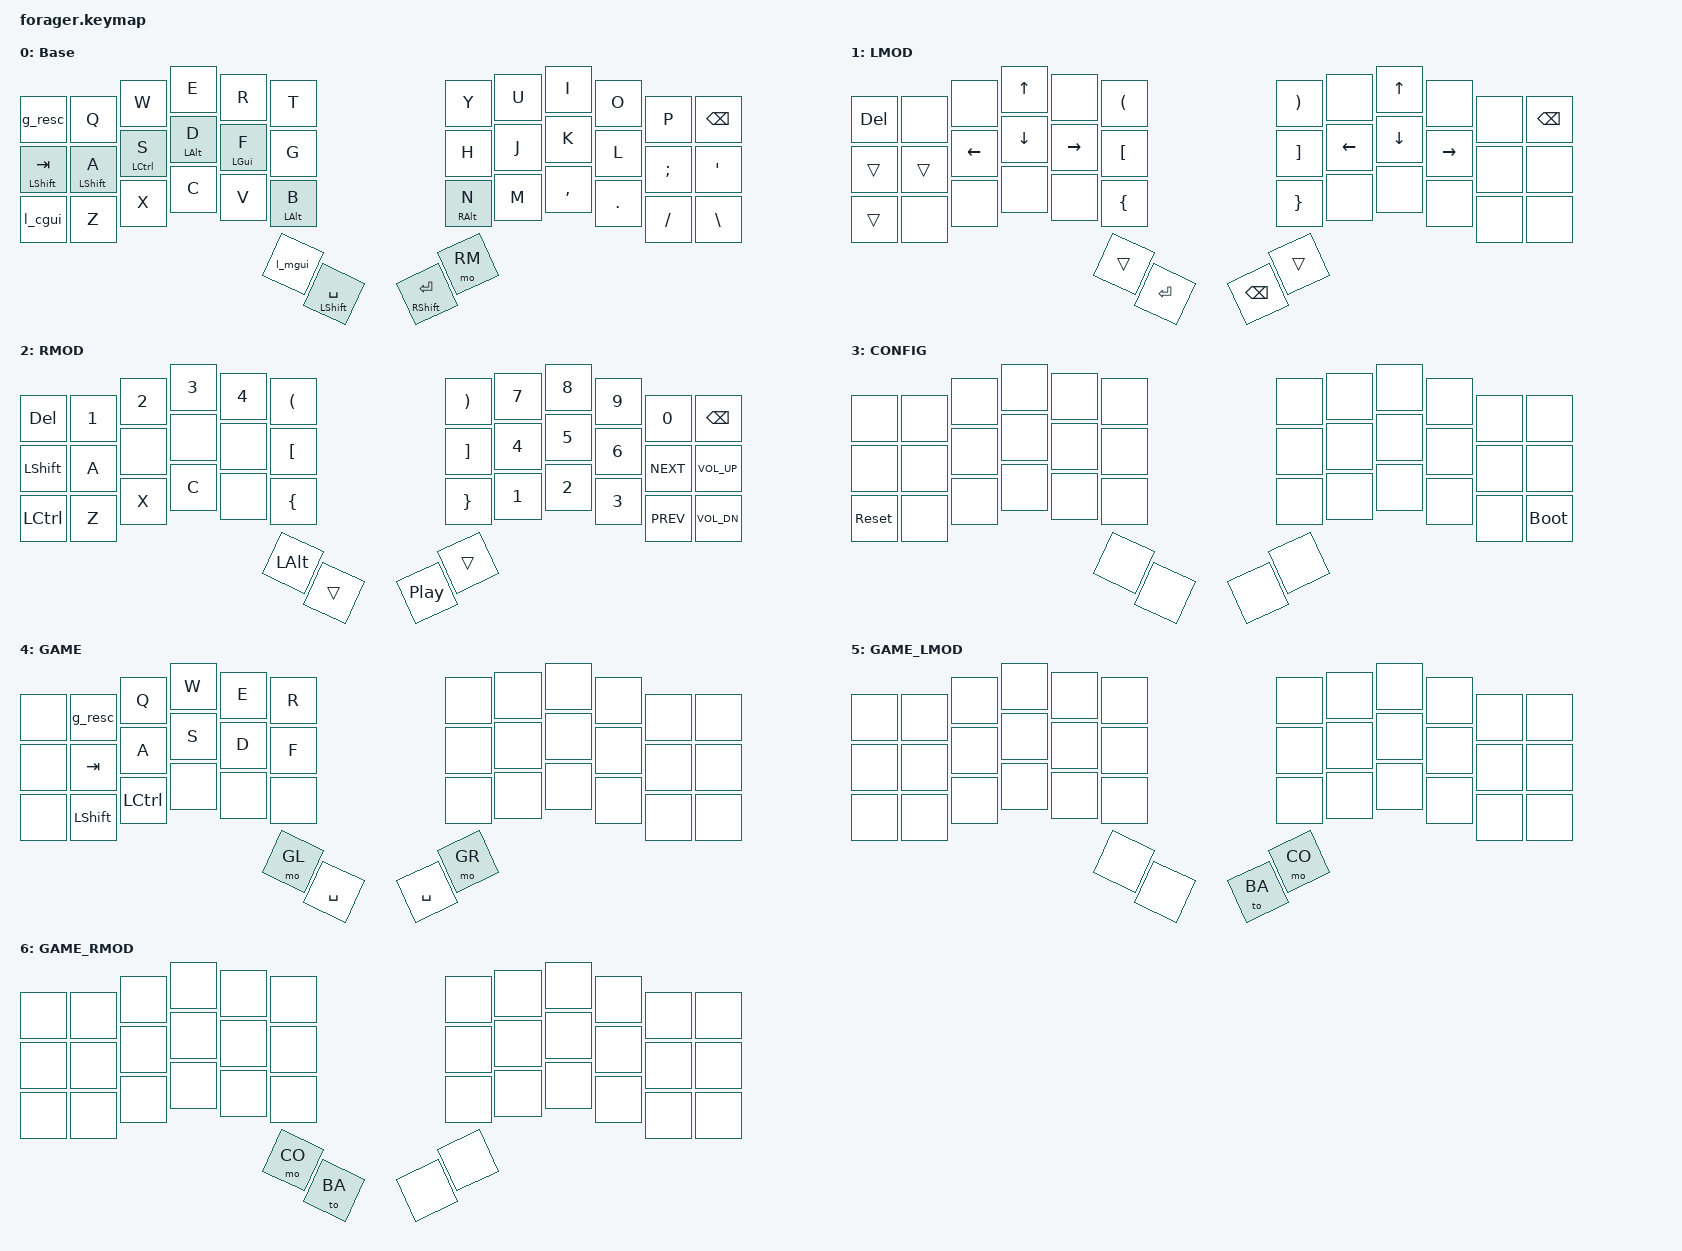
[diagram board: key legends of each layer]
#include <behaviors.dtsi>
#include <dt-bindings/zmk/keys.h>
#include <dt-bindings/zmk/bt.h>
#include <dt-bindings/zmk/outputs.h>

#define Base        0
#define LMOD        1
#define RMOD        2
#define CONFIG      3
#define GAME        4
#define GAME_LMOD   5
#define GAME_RMOD   6

#define BA          0
#define LM          1
#define RM          2
#define CO          3
#define GA          4
#define GL          5
#define GR          6


&kscan0 {
    debounce-press-ms = <5>;
    debounce-release-ms = <3>;
};

&mt {
    quick-tap-ms = <100>;
    global-quick-tap;
    flavor = "tap-preferred";
    tapping-term-ms = <170>;
};

&lt {
    tapping-term-ms = <240>;
    flavor = "balanced";
    quick-tap-ms = <150>;
};

/ {
    behaviors {
        hm: homerow_mods {
            compatible = "zmk,behavior-hold-tap";
            label = "HOMEROW_MODS";
            #binding-cells = <2>;
            flavor = "tap-preferred";
            tapping-term-ms = <200>;
            quick-tap-ms = <125>;
            global-quick-tap;
            bindings = <&kp>, <&kp>;
        };
        g_resc: grave_escape {
            compatible = "zmk,behavior-mod-morph";
            #binding-cells = <0>;
            bindings = <&kp ESC>, <&kp GRAVE>;
            mods = <(MOD_LCTL|MOD_LGUI|MOD_RCTL|MOD_RGUI)>;
        };
        l_cgui: left_ctrl_gui {
            compatible = "zmk,behavior-tap-dance";
            #binding-cells = <0>;
            tapping-term-ms = <200>;
            bindings = <&kp LCTRL>, <&kp LGUI>;
        };
        l_mgui: left_mod_gui {
            compatible = "zmk,behavior-tap-dance";
            #binding-cells = <0>;
            tapping-term-ms = <200>;
            bindings = <&mo LM>, <&kp LGUI>;
        };
    };
    macros {
      // Macro to press LCTRL, LALT, and LGUI simultaneously
      tri_mod_macro: tri_mod_macro {
        compatible = "zmk,behavior-macro";
        #binding-cells = <0>;
        wait-ms = <0>; // No delay between key events
        tap-ms = <0>;
        bindings = <&macro_press &kp LCTRL &kp LALT &kp LGUI>,
          <&macro_pause_for_release>,
          <&macro_release &kp LCTRL &kp LALT &kp LGUI>;
      };
    };
// Reference
//          00              01              02              03              04              05                                              06              07              08              09              10              11
//          12              13              14              15              16              17                                              18              19              20              21              22              23
//          24              25              26              27              28              29                                              30              31              32              33              34              35
//                                                                                          36              37              38              39
    combos {
      compatible = "zmk,combos";
      combo_esc {
        timeout-ms = <30>;
        key-positions = <0 1>;
        bindings = <&kp GRAVE>;
      };
      combo_minus {
        timeout-ms = <30>;
        key-positions = <6 7>;
        bindings = <&kp MINUS>;
      };
      combo_equal {
        timeout-ms = <30>;
        key-positions = <7 8>;
        bindings = <&kp EQUAL>;
      };
      combo_rgui {
        timeout-ms = <30>;
        key-positions = <30 31>;
        bindings = <&kp RGUI>;
      };
      combo_lgui_central {
        timeout-ms = <30>;
        key-positions = <36 37>;
        bindings = <&kp LGUI>;
      };
      combo_switch_to_base {
        timeout-ms = <30>;
        key-positions = <4 5 6 7>;
        bindings = <&to BA>;
      };
      combo_toggle_game {
        timeout-ms = <30>;
        key-positions = <28 29 30 31>;
        bindings = <&tog GA>;
      };
      combo_switch_to_config {
        timeout-ms = <30>;
        key-positions = <25 16 37 38 19 34>;
        bindings = <&to CO>;
      };
      combo_cut {
        timeout-ms = <30>;
        key-positions = <25 26>;
        bindings = <&kp LC(X)>;
      };
      combo_copy {
        timeout-ms = <30>;
        key-positions = <26 27>;
        bindings = <&kp LC(C)>;
      };
      combo_paste {
        timeout-ms = <30>;
        key-positions = <27 28>;
        bindings = <&kp LC(V)>;
      };
      combo_cut_mac {
        timeout-ms = <30>;
        key-positions = <25 26 37>;
        bindings = <&kp LG(X)>;
      };
      combo_copy_mac {
        timeout-ms = <30>;
        key-positions = <26 27 37>;
        bindings = <&kp LG(C)>;
      };
      combo_paste_mac {
        timeout-ms = <30>;
        key-positions = <27 28 37>;
        bindings = <&kp LG(V)>;
      };
      combo_ctrl_alt_gui {
        timeout-ms = <30>;
        key-positions = <24 25 26>;
        bindings = <&tri_mod_macro>;
      };
    };
// Reference
//          00              01              02              03              04              05                                              06              07              08              09              10              11
//          12              13              14              15              16              17                                              18              19              20              21              22              23
//          24              25              26              27              28              29                                              30              31              32              33              34              35
//                                                                                          36              37              38              39

    keymap {
        compatible = "zmk,keymap";

        /* REF { */
        /*     display-name = "REF"; */
        /*     bindings = < */
        /*     &trans          &trans          &trans          &trans          &trans          &trans                                          &trans          &trans          &trans          &trans          &trans          &trans */
        /*     &trans          &trans          &trans          &trans          &trans          &trans                                          &trans          &trans          &trans          &trans          &trans          &trans */
        /*     &trans          &trans          &trans          &trans          &trans          &trans                                          &trans          &trans          &trans          &trans          &trans          &trans */
        /*                                                                                     &trans          &trans          &trans          &trans */
        /*     >; */
        /* }; */

        Base {
            display-name = "Base";
            bindings = <
            &g_resc         &kp Q           &kp W           &kp E           &kp R           &kp T                                           &kp Y           &kp U           &kp I           &kp O           &kp P           &kp BSPC
            &mt LSHIFT TAB  &mt LSHIFT A    &mt LCTRL S     &mt LALT D      &mt LGUI F      &kp G                                           &kp H           &kp J           &kp K           &kp L           &kp SEMI        &kp SQT
            &l_cgui         &kp Z           &kp X           &kp C           &kp V           &mt LALT B                                      &mt RALT N      &kp M           &kp COMMA       &kp DOT         &kp FSLH        &kp BSLH
                                                                                            &l_mgui         &mt LSHFT SPACE &mt RSHFT RET   &mo RM
            >;
        };

        LMOD {
            display-name = "LMOD";
            bindings = <
            &kp DEL         &none           &none           &kp UP          &none           &kp LPAR                                        &kp RPAR        &none           &kp UP          &none           &none           &kp BSPC
            &trans          &trans          &kp LEFT        &kp DOWN        &kp RIGHT       &kp LBKT                                        &kp RBKT        &kp LEFT        &kp DOWN        &kp RIGHT       &none           &none
            &trans          &none           &none           &none           &none           &kp LBRC                                        &kp RBRC        &none           &none           &none           &none           &none
                                                                                            &trans          &kp RET         &kp BSPC        &trans
            >;
        };

        RMOD {
            display-name = "RMOD";
            bindings = <
            &kp DEL         &kp N1          &kp N2          &kp N3          &kp N4          &kp LPAR                                        &kp RPAR        &kp N7          &kp N8          &kp N9          &kp N0          &kp BSPC
            &kp LSHIFT      &kp A           &none           &none           &none           &kp LBKT                                        &kp RBKT        &kp N4          &kp N5          &kp N6          &kp C_NEXT      &kp C_VOL_UP
            &kp LCTRL       &kp Z           &kp X           &kp C           &none           &kp LBRC                                        &kp RBRC        &kp N1          &kp N2          &kp N3          &kp C_PREV      &kp C_VOL_DN
                                                                                            &kp LALT        &trans          &kp C_PP        &trans
            >;
        };

        CONFIG {
            display-name = "CONFIG";
            bindings = <
            &none           &none           &none           &none           &none           &none                                           &none           &none           &none           &none           &none           &none
            &none           &none           &none           &none           &none           &none                                           &none           &none           &none           &none           &none           &none
            &sys_reset      &none           &none           &none           &none           &none                                           &none           &none           &none           &none           &none           &bootloader
                                                                                            &none           &none           &none           &none
            >;
        };

        GAME {
            display-name = "GAME";
            bindings = <
            &none           &g_resc         &kp Q           &kp W           &kp E           &kp R                                           &none           &none           &none           &none           &none           &none
            &none           &kp TAB         &kp A           &kp S           &kp D           &kp F                                           &none           &none           &none           &none           &none           &none
            &none           &kp LSHIFT      &kp LCTRL       &none           &none           &none                                           &none           &none           &none           &none           &none           &none
                                                                                            &mo GL          &kp SPACE       &kp SPACE       &mo GR
            >;
        };

        GAME_LMOD {
            display-name = "GAME_LMOD";
            bindings = <
            &none           &none           &none           &none           &none           &none                                           &none           &none           &none           &none           &none           &none
            &none           &none           &none           &none           &none           &none                                           &none           &none           &none           &none           &none           &none
            &none           &none           &none           &none           &none           &none                                           &none           &none           &none           &none           &none           &none
                                                                                            &none           &none           &to BA          &mo CO
            >;
        };

        GAME_RMOD {
            display-name = "GAME_RMOD";
            bindings = <
            &none           &none           &none           &none           &none           &none                                           &none           &none           &none           &none           &none           &none
            &none           &none           &none           &none           &none           &none                                           &none           &none           &none           &none           &none           &none
            &none           &none           &none           &none           &none           &none                                           &none           &none           &none           &none           &none           &none
                                                                                            &mo CO          &to BA          &none           &none
            >;
        };
    };
};
